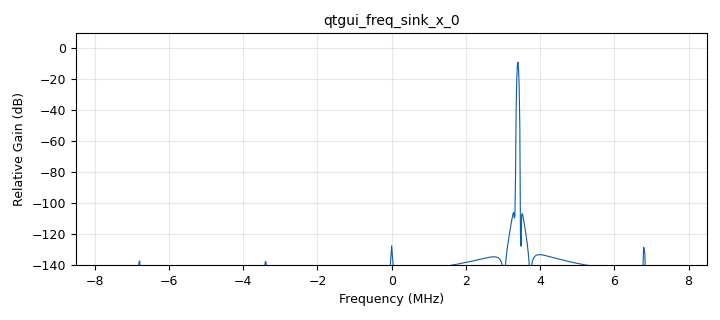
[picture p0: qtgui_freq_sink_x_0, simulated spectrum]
options:
  parameters:
    author: Ben Cometto
    generate_options: qt_gui
    id: radio_test
    output_language: python
    title: USRP B210 Radio Test
  states: {}

blocks:
- name: samp_rate
  id: variable
  parameters:
    value: 17e6
  states: {}
- name: analog_sig_source_x_0
  id: analog_sig_source_x
  parameters:
    amp: '1'
    freq: int(samp_rate/5)
    offset: '0'
    phase: '0'
    samp_rate: samp_rate
    type: complex
    waveform: analog.GR_COS_WAVE
  states: {}
- name: qtgui_freq_sink_x_0
  id: qtgui_freq_sink_x
  parameters:
    bw: samp_rate
    fc: '0'
    fftsize: '1024'
    type: complex
  states: {}
- name: qtgui_freq_sink_x_0_0
  id: qtgui_freq_sink_x
  parameters:
    bw: samp_rate
    fc: '0'
    fftsize: '1024'
    type: complex
  states: {}
- name: uhd_usrp_sink_0
  id: uhd_usrp_sink
  parameters:
    ant0: '"TX/RX"'
    center_freq0: 1e9
    gain0: '5'
    samp_rate: samp_rate
    sync: sync
    type: fc32
  states: {}
- name: uhd_usrp_source_0
  id: uhd_usrp_source
  parameters:
    ant0: '"TX/RX"'
    center_freq0: 1e9
    gain0: '40'
    samp_rate: samp_rate
    sd_spec0: A:B
    sync: sync
    type: fc32
  states: {}

connections:
- [analog_sig_source_x_0, '0', qtgui_freq_sink_x_0, '0']
- [analog_sig_source_x_0, '0', uhd_usrp_sink_0, '0']
- [uhd_usrp_source_0, '0', qtgui_freq_sink_x_0_0, '0']

metadata:
  file_format: 1
  grc_version: 3.10.10.0
